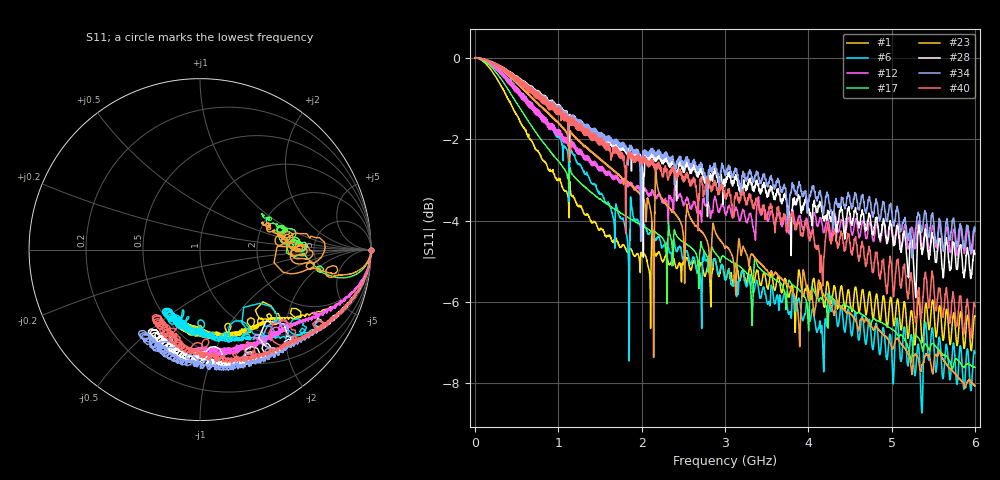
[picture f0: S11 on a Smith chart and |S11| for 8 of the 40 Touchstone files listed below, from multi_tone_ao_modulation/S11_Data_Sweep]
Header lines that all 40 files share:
!Keysight Technologies,P9374A,MY57304198,A.17.20.09
!Correction: S11(C  1-Port  )
!S21(C  1-Port  )
!S12(Off)
!S22(Off)
!S2P File: Measurements: S11, S21, S12, S22:
# Hz S  dB  R 50
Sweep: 300 kHz to 6 GHz
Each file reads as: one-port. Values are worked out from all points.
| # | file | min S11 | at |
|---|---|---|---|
| 1 | die2-3_wg17_RL_narrowperiodic_bar_2mm_2024-08-15-16-37.s2p | -7.2 dB | 5.955 GHz |
| 2 | die2-3_wg17_RL_wideperiodic_bar_500um_2024-08-15-16-33.s2p | -5.3 dB | 5.954 GHz |
| 3 | die2-3_wg17_RU_ultranarrowperiodic_bi_1mm_2024-08-20-13-32.s2p | -7.5 dB | 5.365 GHz |
| 4 | die2-3_wg17_RU_ultranarrowperiodic_bi_2mm_2024-08-20-13-36.s2p | -9.0 dB | 5.999 GHz |
| 5 | die2-3_wg17_RU_ultranarrowperiodic_bi_500um_2024-08-20-13-34.s2p | -5.8 dB | 2.095 GHz |
| 6 | die2-3_wg18_RL_midperiodic_bar_1mm_2024-08-15-16-48.s2p | -8.7 dB | 5.363 GHz |
| 7 | die2-3_wg18_RL_narrowperiodic_bar_2mm_2024-08-15-16-40.s2p | -10.0 dB | 5.95 GHz |
| 8 | die2-3_wg18_RL_wideperiodic_bar_500um_2024-08-15-16-45.s2p | -6.7 dB | 5.365 GHz |
| 9 | die2-3_wg18_RU_ultranarrowperiodic_bi_1mm_2024-08-20-13-45.s2p | -10.4 dB | 5.324 GHz |
| 10 | die2-3_wg18_RU_ultranarrowperiodic_bi_2mm_2024-08-20-13-39.s2p | -10.0 dB | 5.288 GHz |
| 11 | die2-3_wg18_RU_ultranarrowperiodic_bi_500um_2024-08-20-13-43.s2p | -7.4 dB | 5.315 GHz |
| 12 | die2-3_wg19_RL_midperiodic_bar_1mm_2024-08-16-15-09.s2p | -4.9 dB | 5.789 GHz |
| 13 | die2-3_wg19_RL_narrowperiodic_bar_2mm_2024-08-16-15-16.s2p | -6.9 dB | 5.784 GHz |
| 14 | die2-3_wg19_RL_wideperiodic_bar_500um_2024-08-16-15-13.s2p | -5.2 dB | 5.783 GHz |
| 15 | die2-3_wg19_RU_ultranarrowperiodic_bi_1mm_2024-08-20-13-48.s2p | -7.4 dB | 5.749 GHz |
| 16 | die2-3_wg19_RU_ultranarrowperiodic_bi_2mm_2024-08-19-14-49.s2p | -7.0 dB | 5.867 GHz |
| 17 | die2-3_wg19_RU_ultranarrowperiodic_bi_2mm_2024-08-19-17-40.s2p | -7.6 dB | 5.731 GHz |
| 18 | die2-3_wg19_RU_ultranarrowperiodic_bi_2mm_2024-08-20-13-54.s2p | -7.5 dB | 5.729 GHz |
| 19 | die2-3_wg19_RU_ultranarrowperiodic_bi_500um_2024-08-20-13-51.s2p | -4.8 dB | 5.744 GHz |
| 20 | die2-3_wg20_RL_midperiodic_bar_1mm_2024-08-16-15-27.s2p | -7.1 dB | 5.869 GHz |
| 21 | die2-3_wg20_RL_narrowperiodic_bar_2mm_2024-08-16-15-21.s2p | -6.8 dB | 5.872 GHz |
| 22 | die2-3_wg20_RL_wideperiodic_bar_500um_2024-08-16-15-25.s2p | -5.0 dB | 5.869 GHz |
| 23 | die2-3_wg20_RU_ultranarrowperiodic_bi_1mm_2024-08-20-14-02.s2p | -8.1 dB | 5.888 GHz |
| 24 | die2-3_wg20_RU_ultranarrowperiodic_bi_2mm_2024-08-20-13-57.s2p | -8.4 dB | 5.997 GHz |
| 25 | die2-3_wg20_RU_ultranarrowperiodic_bi_500um_2024-08-20-14-00.s2p | -5.9 dB | 2.141 GHz |
| 26 | die2-3_wg21_RL_midperiodic_bar_1mm_2024-08-16-15-31.s2p | -8.3 dB | 5.952 GHz |
| 27 | die2-3_wg21_RL_narrowperiodic_bar_2mm_2024-08-16-15-37.s2p | -7.8 dB | 5.957 GHz |
| 28 | die2-3_wg21_RL_wideperiodic_bar_500um_2024-08-16-15-34.s2p | -5.9 dB | 5.289 GHz |
| 29 | die2-3_wg21_RU_ultranarrowperiodic_bi_1mm_2024-08-20-14-06.s2p | -8.8 dB | 5.251 GHz |
| 30 | die2-3_wg21_RU_ultranarrowperiodic_bi_2mm_2024-08-20-14-11.s2p | -9.1 dB | 5.236 GHz |
| 31 | die2-3_wg21_RU_ultranarrowperiodic_bi_500um_2024-08-20-14-08.s2p | -6.8 dB | 2.008 GHz |
| 32 | die2-3_wg22_RL_midperiodic_bar_1mm_2024-08-16-15-45.s2p | -7.6 dB | 5.254 GHz |
| 33 | die2-3_wg22_RL_narrowperiodic_bar_2mm_2024-08-16-15-39.s2p | -9.5 dB | 5.204 GHz |
| 34 | die2-3_wg22_RL_wideperiodic_bar_500um_2024-08-16-15-43.s2p | -4.9 dB | 5.245 GHz |
| 35 | die2-3_wg22_RU_ultranarrowperiodic_bi_1mm_2024-08-20-14-20.s2p | -8.9 dB | 5.206 GHz |
| 36 | die2-3_wg22_RU_ultranarrowperiodic_bi_2mm_2024-08-20-14-15.s2p | -8.5 dB | 1.974 GHz |
| 37 | die2-3_wg22_RU_ultranarrowperiodic_bi_500um_2024-08-20-14-18.s2p | -6.1 dB | 5.201 GHz |
| 38 | die2-3_wg23_RL_midperiodic_bar_1mm_2024-08-16-15-48.s2p | -8.2 dB | 5.354 GHz |
| 39 | die2-3_wg23_RL_narrowperiodic_bar_2mm_2024-08-16-15-52.s2p | -9.6 dB | 5.268 GHz |
| 40 | die2-3_wg23_RL_wideperiodic_bar_500um_2024-08-16-15-50.s2p | -6.9 dB | 5.949 GHz |
